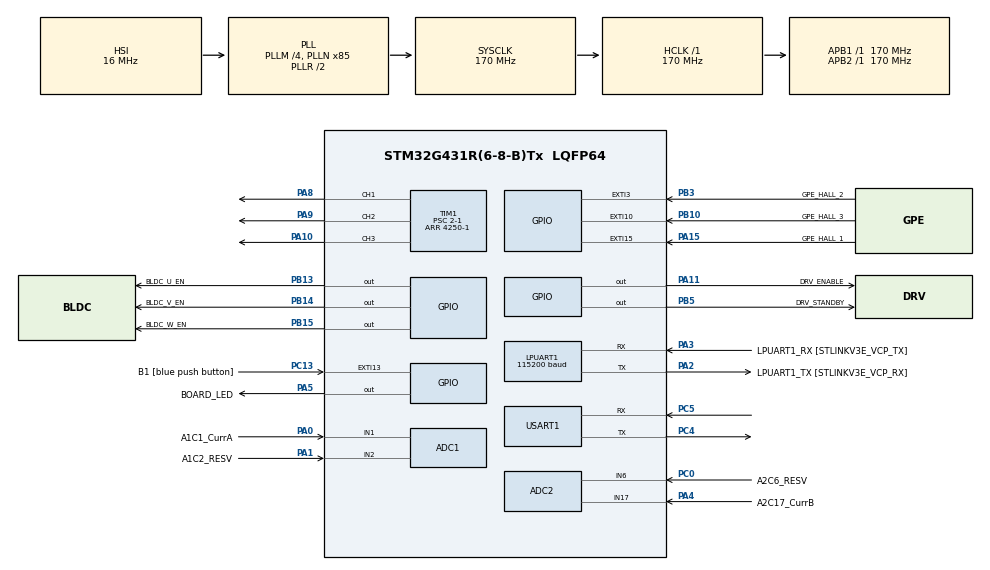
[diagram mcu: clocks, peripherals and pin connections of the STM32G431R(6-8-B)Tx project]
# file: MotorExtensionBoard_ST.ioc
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ADC1.Channel-0\#ChannelRegularConversion=ADC_CHANNEL_1
ADC1.Channel-1\#ChannelRegularConversion=ADC_CHANNEL_2
ADC1.ContinuousConvMode=ENABLE
ADC1.DMAAccessModeView=ENABLE
ADC1.DMAContinuousRequests=ENABLE
ADC1.EOCSelection=ADC_EOC_SINGLE_CONV
ADC1.EnableInjectedConversion=DISABLE
ADC1.ExternalTrigConv=ADC_SOFTWARE_START
ADC1.Mode=ADC_DUALMODE_REGSIMULT
ADC1.NbrOfConversion=2
ADC1.NbrOfConversionFlag=1
ADC1.OffsetNumber-0\#ChannelRegularConversion=ADC_OFFSET_NONE
ADC1.OffsetNumber-1\#ChannelRegularConversion=ADC_OFFSET_NONE
ADC1.Rank-0\#ChannelRegularConversion=1
ADC1.Rank-1\#ChannelRegularConversion=2
ADC1.SamplingTime-0\#ChannelRegularConversion=ADC_SAMPLETIME_92CYCLES_5
ADC1.SamplingTime-1\#ChannelRegularConversion=ADC_SAMPLETIME_92CYCLES_5
ADC1.TwoSamplingDelay=ADC_TWOSAMPLINGDELAY_4CYCLES
ADC1.master=1
ADC2.Channel-0\#ChannelRegularConversion=ADC_CHANNEL_17
ADC2.Channel-1\#ChannelRegularConversion=ADC_CHANNEL_6
ADC2.ContinuousConvMode=ENABLE
ADC2.DMAAccessModeView=ENABLE
ADC2.DMAContinuousRequests=DISABLE
ADC2.EOCSelection=ADC_EOC_SINGLE_CONV
ADC2.Mode=ADC_DUALMODE_REGSIMULT
ADC2.NbrOfConversion=2
ADC2.NbrOfConversionFlag=1
ADC2.OffsetNumber-0\#ChannelRegularConversion=ADC_OFFSET_NONE
ADC2.OffsetNumber-1\#ChannelRegularConversion=ADC_OFFSET_NONE
ADC2.Rank-0\#ChannelRegularConversion=1
ADC2.Rank-1\#ChannelRegularConversion=2
ADC2.SamplingTime-0\#ChannelRegularConversion=ADC_SAMPLETIME_92CYCLES_5
ADC2.SamplingTime-1\#ChannelRegularConversion=ADC_SAMPLETIME_92CYCLES_5
ADC2.TwoSamplingDelay=ADC_TWOSAMPLINGDELAY_4CYCLES
Dma.ADC1.0.Direction=DMA_PERIPH_TO_MEMORY
Dma.ADC1.0.EventEnable=DISABLE
Dma.ADC1.0.Instance=DMA1_Channel1
Dma.ADC1.0.MemDataAlignment=DMA_MDATAALIGN_WORD
Dma.ADC1.0.MemInc=DMA_MINC_ENABLE
Dma.ADC1.0.Mode=DMA_CIRCULAR
Dma.ADC1.0.PeriphDataAlignment=DMA_PDATAALIGN_WORD
Dma.ADC1.0.PeriphInc=DMA_PINC_DISABLE
Dma.ADC1.0.Polarity=HAL_DMAMUX_REQ_GEN_RISING
Dma.ADC1.0.Priority=DMA_PRIORITY_LOW
Dma.ADC1.0.RequestNumber=1
Dma.ADC1.0.SignalID=NONE
Dma.ADC1.0.SyncEnable=DISABLE
Dma.ADC1.0.SyncPolarity=HAL_DMAMUX_SYNC_NO_EVENT
Dma.ADC1.0.SyncRequestNumber=1
Dma.ADC1.0.SyncSignalID=NONE
Dma.Request0=ADC1
LPUART1.BaudRate=115200
LPUART1.WordLength=UART_WORDLENGTH_8B
Mcu.Family=STM32G4
Mcu.Name=STM32G431R(6-8-B)Tx
Mcu.Package=LQFP64
NVIC.ADC1_2_IRQn=true\:0\:0\:false\:false\:true\:true\:true\:true
NVIC.DMA1_Channel1_IRQn=true\:0\:0\:false\:false\:true\:false\:true\:true
NVIC.EXTI15_10_IRQn=true\:0\:0\:false\:false\:true\:true\:true\:true
NVIC.EXTI3_IRQn=true\:0\:0\:false\:false\:true\:true\:true\:true
NVIC.LPUART1_IRQn=true\:0\:0\:false\:false\:true\:true\:true\:true
NVIC.PriorityGroup=NVIC_PRIORITYGROUP_4
PA0.GPIO_Label=A1C1_CurrA
PA0.Mode=IN1-Single-Ended
PA0.Signal=ADC1_IN1
PA1.GPIO_Label=A1C2_RESV
PA1.Mode=IN2-Single-Ended
PA1.Signal=ADC1_IN2
PA10.Signal=S_TIM1_CH3
PA11.GPIO_Label=DRV_ENABLE
PA11.Signal=GPIO_Output
PA13.GPIO_Label=T_SWDIO
PA13.Mode=Serial_Wire
PA13.Signal=SYS_JTMS-SWDIO
PA14.GPIO_Label=T_SWCLK
PA14.Mode=Serial_Wire
PA14.Signal=SYS_JTCK-SWCLK
PA15.GPIO_Label=GPE_HALL_1
PA15.GPIO_ModeDefaultEXTI=GPIO_MODE_IT_RISING_FALLING
PA15.Signal=GPXTI15
PA2.GPIO_Label=LPUART1_TX [STLINKV3E_VCP_RX]
PA2.Mode=Asynchronous
PA2.Signal=LPUART1_TX
PA3.GPIO_Label=LPUART1_RX [STLINKV3E_VCP_TX]
PA3.Mode=Asynchronous
PA3.Signal=LPUART1_RX
PA4.GPIO_Label=A2C17_CurrB
PA4.Mode=IN17-Single-Ended
PA4.Signal=ADC2_IN17
PA5.GPIO_Label=BOARD_LED
PA5.Signal=GPIO_Output
PA8.Signal=S_TIM1_CH1
PA9.Signal=S_TIM1_CH2
PB10.GPIO_Label=GPE_HALL_3
PB10.GPIO_ModeDefaultEXTI=GPIO_MODE_IT_RISING_FALLING
PB10.Signal=GPXTI10
PB13.GPIO_Label=BLDC_U_EN
PB13.Signal=GPIO_Output
PB14.GPIO_Label=BLDC_V_EN
PB14.Signal=GPIO_Output
PB15.GPIO_Label=BLDC_W_EN
PB15.Signal=GPIO_Output
PB3.GPIO_Label=GPE_HALL_2
PB3.GPIO_ModeDefaultEXTI=GPIO_MODE_IT_RISING_FALLING
PB3.Signal=GPXTI3
PB5.GPIO_Label=DRV_STANDBY
PB5.Signal=GPIO_Output
PC0.GPIO_Label=A2C6_RESV
PC0.Mode=IN6-Single-Ended
PC0.Signal=ADC2_IN6
PC13.GPIO_Label=B1 [blue push button]
PC13.Signal=GPXTI13
PC14-OSC32_IN.Mode=LSE-External-Oscillator
PC14-OSC32_IN.Signal=RCC_OSC32_IN
PC15-OSC32_OUT.Mode=LSE-External-Oscillator
PC15-OSC32_OUT.Signal=RCC_OSC32_OUT
PC4.Mode=Asynchronous
PC4.Signal=USART1_TX
PC5.Mode=Asynchronous
PC5.Signal=USART1_RX
PF0-OSC_IN.Mode=HSE-External-Oscillator
PF0-OSC_IN.Signal=RCC_OSC_IN
PF1-OSC_OUT.Mode=HSE-External-Oscillator
PF1-OSC_OUT.Signal=RCC_OSC_OUT
ProjectManager.HeapSize=0x200
ProjectManager.StackSize=0x400
ProjectManager.TargetToolchain=STM32CubeIDE
RCC.ADC12Freq_Value=170000000
RCC.AHBFreq_Value=170000000
RCC.APB1Freq_Value=170000000
RCC.APB1TimFreq_Value=170000000
RCC.APB2Freq_Value=170000000
RCC.APB2TimFreq_Value=170000000
RCC.CortexFreq_Value=170000000
RCC.EXTERNAL_CLOCK_VALUE=12288000
RCC.HCLKFreq_Value=170000000
RCC.HSE_VALUE=24000000
RCC.HSI48_VALUE=48000000
RCC.HSI_VALUE=16000000
RCC.PLLM=RCC_PLLM_DIV4
RCC.PLLN=85
RCC.RTCClockSelection=RCC_RTCCLKSOURCE_LSE
RCC.SYSCLKFreq_VALUE=170000000
RCC.SYSCLKSource=RCC_SYSCLKSOURCE_PLLCLK
RCC.USBFreq_Value=170000000
RCC.VCOOutputFreq_Value=340000000
SH.S_TIM1_CH1.0=TIM1_CH1,Output Compare1 CH1
SH.S_TIM1_CH2.0=TIM1_CH2,Output Compare2 CH2
SH.S_TIM1_CH3.0=TIM1_CH3,Output Compare3 CH3
TIM1.Channel-Output\ Compare1\ CH1=TIM_CHANNEL_1
TIM1.Channel-Output\ Compare2\ CH2=TIM_CHANNEL_2
TIM1.Channel-Output\ Compare3\ CH3=TIM_CHANNEL_3
TIM1.PeriodNoDither=4250-1
TIM1.Prescaler=2-1
TIM6.PeriodNoDither=100-1
TIM6.Prescaler=170-1
TIM6.TIM_MasterOutputTrigger=TIM_TRGO_UPDATE
USART1.VirtualMode-Asynchronous=VM_ASYNC
VP_SYS_VS_DBSignals.Mode=DisableDeadBatterySignals
VP_TIM1_VS_ClockSourceINT.Mode=Internal
VP_TIM6_VS_ClockSourceINT.Mode=Enable_Timer
board=NUCLEO-G431RB

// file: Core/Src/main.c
/* USER CODE BEGIN Header */
/**
  ******************************************************************************
  * @file           : main.c
  * @brief          : Main program body
  ******************************************************************************
  * @attention
  *
  * Copyright (c) 2024 STMicroelectronics.
  * All rights reserved.
  *
  * This software is licensed under terms that can be found in the LICENSE file
  * in the root directory of this software component.
  * If no LICENSE file comes with this software, it is provided AS-IS.
  *
  ******************************************************************************
  */
/* USER CODE END Header */
#include "main.h"

/* USER CODE BEGIN Includes */
#include <stdint.h>
/* USER CODE END Includes */

ADC_HandleTypeDef hadc1;
ADC_HandleTypeDef hadc2;
DMA_HandleTypeDef hdma_adc1;

UART_HandleTypeDef hlpuart1;
UART_HandleTypeDef huart1;

TIM_HandleTypeDef htim1;
TIM_HandleTypeDef htim6;

void SystemClock_Config(void);
static void MX_GPIO_Init(void);
static void MX_DMA_Init(void);
static void MX_ADC1_Init(void);
static void MX_LPUART1_UART_Init(void);
static void MX_TIM6_Init(void);
static void MX_ADC2_Init(void);
static void MX_USART1_UART_Init(void);
static void MX_TIM1_Init(void);

/* USER CODE BEGIN 0 */
uint32_t g_uiT3c1_duty = 0;

uint32_t g_uiT3c2_duty = 0;

uint32_t g_uiT3c4_duty = 0;

uint8_t g_uiUpdated = 0;
uint8_t g_ucEnableCompl = 0;

uint32_t g_usAdcCh1_raw[4] = {0,};
uint16_t g_usAdcCh2_raw[4] = {0,};

uint8_t g_ucL234Enable = 0;

uint32_t g_arriveTm = 0;

uint16_t adc1_data[4];
uint16_t adc2_data[4];
float adc1_volt[4] = { 1.0f,1.0f,1.0f,1.0f};
float adc2_volt[4] = { 1.0f,1.0f,1.0f,1.0f};

uint8_t g_aucHall[3];

uint16_t g_uiBldcDuty = 1000;

// ?��?�� ?��?��
void Update_SixStep_Commutation_GPT(void);
void Update_SixStep_Commutation_Book(void);
void Update_SixStep_Commutation_Mode2(void);
uint8_t Read_Hall_Sensors(void);
static void TIM_ComplementaryChCtl(TIM_TypeDef *TIMx, uint32_t Channel, uint32_t ChannelNState);

TIM_HandleTypeDef htim1;

void HAL_GPIO_EXTI_Callback(uint16_t GPIO_Pin) {
    if (GPIO_Pin == GPE_HALL_3_Pin || GPIO_Pin == GPE_HALL_2_Pin || GPIO_Pin == GPE_HALL_1_Pin) {
    	//Update_SixStep_Commutation_Book();
      Update_SixStep_Commutation_Mode2();
    }
}

void Update_SixStep_Commutation_GPT(void) {
    uint8_t hallState = Read_Hall_Sensors();

    switch (hallState) {

        case 0b101:  // Hall state 5
        	// Phase A : current in
            __HAL_TIM_SET_COMPARE(&htim1, TIM_CHANNEL_1, g_uiBldcDuty);
            TIM_ComplementaryChCtl(htim1.Instance, TIM_CHANNEL_1, TIM_CCxN_DISABLE);

            // Phase B : current out
            __HAL_TIM_SET_COMPARE(&htim1, TIM_CHANNEL_2, 0);
            TIM_ComplementaryChCtl(htim1.Instance, TIM_CHANNEL_2, TIM_CCxN_ENABLE);	// Duty is 0, then Complementary out is always 100% duty

            // Phase C : HiZ
            __HAL_TIM_SET_COMPARE(&htim1, TIM_CHANNEL_3, 0);
            TIM_ComplementaryChCtl(htim1.Instance, TIM_CHANNEL_3, TIM_CCxN_DISABLE);
            break;

        case 0b100:  // Hall state 4
        	// Phase A : HiZ
            __HAL_TIM_SET_COMPARE(&htim1, TIM_CHANNEL_1, 0);
            TIM_ComplementaryChCtl(htim1.Instance, TIM_CHANNEL_1, TIM_CCxN_DISABLE);

            // Phase B : current out
            __HAL_TIM_SET_COMPARE(&htim1, TIM_CHANNEL_2, 0);
            TIM_ComplementaryChCtl(htim1.Instance, TIM_CHANNEL_2, TIM_CCxN_ENABLE);

            // Phase B : current in
            __HAL_TIM_SET_COMPARE(&htim1, TIM_CHANNEL_3, g_uiBldcDuty);
            TIM_ComplementaryChCtl(htim1.Instance, TIM_CHANNEL_3, TIM_CCxN_DISABLE);
            break;

        case 0b110:
        	// Phase A :  current out
        	__HAL_TIM_SET_COMPARE(&htim1, TIM_CHANNEL_1, 0);
        	TIM_ComplementaryChCtl(htim1.Instance, TIM_CHANNEL_1, TIM_CCxN_ENABLE);

        	// Phase B : current in
			__HAL_TIM_SET_COMPARE(&htim1, TIM_CHANNEL_2, g_uiBldcDuty);
			TIM_ComplementaryChCtl(htim1.Instance, TIM_CHANNEL_2, TIM_CCxN_DISABLE);

			// Phase C : HiZ
			__HAL_TIM_SET_COMPARE(&htim1, TIM_CHANNEL_3, 0);
			TIM_ComplementaryChCtl(htim1.Instance, TIM_CHANNEL_3, TIM_CCxN_DISABLE);
        	break;

        case 0b010:
        	// Phase A :  current out
        	__HAL_TIM_SET_COMPARE(&htim1, TIM_CHANNEL_1, 0);
        	TIM_ComplementaryChCtl(htim1.Instance, TIM_CHANNEL_1, TIM_CCxN_ENABLE);

        	// Phase B : HiZ
			__HAL_TIM_SET_COMPARE(&htim1, TIM_CHANNEL_2, 0);
			TIM_ComplementaryChCtl(htim1.Instance, TIM_CHANNEL_2, TIM_CCxN_DISABLE);

			// Phase C : current in
			__HAL_TIM_SET_COMPARE(&htim1, TIM_CHANNEL_3, g_uiBldcDuty);
			TIM_ComplementaryChCtl(htim1.Instance, TIM_CHANNEL_3, TIM_CCxN_DISABLE);
        	break;

        case 0b011:
        	// Phase A :  HiZ
        	__HAL_TIM_SET_COMPARE(&htim1, TIM_CHANNEL_1, 0);
        	TIM_ComplementaryChCtl(htim1.Instance, TIM_CHANNEL_1, TIM_CCxN_DISABLE);

        	// Phase B :  current in
			__HAL_TIM_SET_COMPARE(&htim1, TIM_CHANNEL_2, g_uiBldcDuty);
			TIM_ComplementaryChCtl(htim1.Instance, TIM_CHANNEL_2, TIM_CCxN_DISABLE);

			// Phase C :  current out
			__HAL_TIM_SET_COMPARE(&htim1, TIM_CHANNEL_3, 0);
			TIM_ComplementaryChCtl(htim1.Instance, TIM_CHANNEL_3, TIM_CCxN_ENABLE);
        	break;

        case 0b001:
        	// Phase A :  current in
        	__HAL_TIM_SET_COMPARE(&htim1, TIM_CHANNEL_1, g_uiBldcDuty);
        	TIM_ComplementaryChCtl(htim1.Instance, TIM_CHANNEL_1, TIM_CCxN_DISABLE);

        	// Phase A :  HiZ
			__HAL_TIM_SET_COMPARE(&htim1, TIM_CHANNEL_2, 0);
			TIM_ComplementaryChCtl(htim1.Instance, TIM_CHANNEL_2, TIM_CCxN_DISABLE);

			// Phase A :  current out
			__HAL_TIM_SET_COMPARE(&htim1, TIM_CHANNEL_3, 0);
			TIM_ComplementaryChCtl(htim1.Instance, TIM_CHANNEL_3, TIM_CCxN_ENABLE);
        	break;

        // 추�? ?��?�� ?��?�� (0b110, 0b010, 0b011, 0b001)
        // �?????? ?��?��?��?�� TIM1?�� 출력 ?��?�� ?��?��
    }
}

uint8_t hallState = 0;

uint8_t Read_Hall_Sensors(void) {
    uint8_t h1 = HAL_GPIO_ReadPin(GPE_HALL_1_GPIO_Port, GPE_HALL_1_Pin);
    uint8_t h2 = HAL_GPIO_ReadPin(GPE_HALL_2_GPIO_Port, GPE_HALL_2_Pin);
    uint8_t h3 = HAL_GPIO_ReadPin(GPE_HALL_3_GPIO_Port, GPE_HALL_3_Pin);
    return ((h1 << 2) + (h2 << 1) + h3);
}

static void TIM_ComplementaryChCtl(TIM_TypeDef *TIMx, uint32_t Channel, uint32_t ChannelNState)
{
  uint32_t tmp;

  tmp = TIM_CCER_CC1NE << (Channel & 0xFU); /* 0xFU = 15 bits max shift */

  /* Reset the CCxNE Bit */
  TIMx->CCER &=  ~tmp;

  /* Set or reset the CCxNE Bit */
  TIMx->CCER |= (uint32_t)(ChannelNState << (Channel & 0xFU)); /* 0xFU = 15 bits max shift */
}

uint8_t g_ucDrvEn = 0;
uint8_t g_ucStandy = 0;

/* USER CODE END 0 */

int main(void)
{

  /* MCU Configuration--------------------------------------------------------*/

  /* Reset of all peripherals, Initializes the Flash interface and the Systick. */
  HAL_Init();

  /* Configure the system clock */
  SystemClock_Config();

  /* Initialize all configured peripherals */
  MX_GPIO_Init();
  MX_DMA_Init();
  MX_ADC1_Init();
  MX_LPUART1_UART_Init();
  MX_TIM6_Init();
  MX_ADC2_Init();
  MX_USART1_UART_Init();
  MX_TIM1_Init();
  /* USER CODE BEGIN 2 */
   HAL_TIM_PWM_Start(&htim1, TIM_CHANNEL_1);
   //HAL_TIMEx_PWMN_Start(&htim1, TIM_CHANNEL_1);
   HAL_TIM_PWM_Start(&htim1, TIM_CHANNEL_2);
   //HAL_TIMEx_PWMN_Start(&htim1, TIM_CHANNEL_2);
   HAL_TIM_PWM_Start(&htim1, TIM_CHANNEL_3);
   //HAL_TIMEx_PWMN_Start(&htim1, TIM_CHANNEL_3);

  //TIM_ComplementaryChCtl(htim1.Instance, TIM_CHANNEL_1, TIM_CCxN_DISABLE);
  //TIM_ComplementaryChCtl(htim1.Instance, TIM_CHANNEL_2, TIM_CCxN_DISABLE);
  //TIM_ComplementaryChCtl(htim1.Instance, TIM_CHANNEL_3, TIM_CCxN_DISABLE);

  HAL_TIM_Base_Start(&htim6);

  //HAL_GPIO_WritePin(DRV_STANDBY_GPIO_Port, DRV_STANDBY_Pin, 0);
  //HAL_GPIO_WritePin(DRV_ENABLE_GPIO_Port, DRV_ENABLE_Pin, 1);
  HAL_Delay(100);
  g_ucDrvEn = 1;
  HAL_GPIO_WritePin(DRV_STANDBY_GPIO_Port, DRV_STANDBY_Pin, 1);
  HAL_Delay(100);
  //htim1.Instance->CCER

  //Update_SixStep_Commutation_Mode2();
//  //HAL_ADC_Start(&hadc2);
//  HAL_ADCEx_MultiModeStart_DMA(&hadc1, (uint32_t *)&g_usAdcCh1_raw, 4);

  /* USER CODE END 2 */

  /* Infinite loop */
  /* USER CODE BEGIN WHILE */
  while (1)
  {
	  __HAL_TIM_SET_COMPARE(&htim1,TIM_CHANNEL_1, 4250-1) ;
	  HAL_GPIO_WritePin(BLDC_U_EN_GPIO_Port, BLDC_U_EN_Pin, GPIO_PIN_SET);
	  HAL_GPIO_WritePin(BLDC_V_EN_GPIO_Port, BLDC_V_EN_Pin, GPIO_PIN_SET);
	  HAL_GPIO_WritePin(BLDC_W_EN_GPIO_Port, BLDC_W_EN_Pin, GPIO_PIN_SET);

	  HAL_GPIO_WritePin(DRV_ENABLE_GPIO_Port, DRV_ENABLE_Pin, g_ucDrvEn);
#if 0
	  __HAL_TIM_SET_COMPARE(&htim1,TIM_CHANNEL_1, g_uiT3c1_duty) ;

	  if(g_uiUpdated != 0){
		  g_uiUpdated = 0;

		  if(g_ucEnableCompl == 1){
			  //TIM_CCxN_DISABLE
			  TIM_ComplementaryChCtl(htim1.Instance, TIM_CHANNEL_1, TIM_CCxN_ENABLE);
		  }
		  else {
			  //TIM_CCxN_DISABLE
			  TIM_ComplementaryChCtl(htim1.Instance, TIM_CHANNEL_1, TIM_CCxN_DISABLE);
		  }

	  }
#endif

    uint8_t h1 = HAL_GPIO_ReadPin(GPE_HALL_1_GPIO_Port, GPE_HALL_1_Pin);
    uint8_t h2 = HAL_GPIO_ReadPin(GPE_HALL_2_GPIO_Port, GPE_HALL_2_Pin);
    uint8_t h3 = HAL_GPIO_ReadPin(GPE_HALL_3_GPIO_Port, GPE_HALL_3_Pin);
    g_aucHall[0] = h1;
    g_aucHall[1] = h2;
    g_aucHall[2] = h3;

    /* USER CODE END WHILE */

  }
}

void SystemClock_Config(void)
{
  RCC_OscInitTypeDef RCC_OscInitStruct = {0};
  RCC_ClkInitTypeDef RCC_ClkInitStruct = {0};

  /** Configure the main internal regulator output voltage
  */
  HAL_PWREx_ControlVoltageScaling(PWR_REGULATOR_VOLTAGE_SCALE1_BOOST);

  /** Initializes the RCC Oscillators according to the specified parameters
  * in the RCC_OscInitTypeDef structure.
  */
  RCC_OscInitStruct.OscillatorType = RCC_OSCILLATORTYPE_HSI;
  RCC_OscInitStruct.HSIState = RCC_HSI_ON;
  RCC_OscInitStruct.HSICalibrationValue = RCC_HSICALIBRATION_DEFAULT;
  RCC_OscInitStruct.PLL.PLLState = RCC_PLL_ON;
  RCC_OscInitStruct.PLL.PLLSource = RCC_PLLSOURCE_HSI;
  RCC_OscInitStruct.PLL.PLLM = RCC_PLLM_DIV4;
  RCC_OscInitStruct.PLL.PLLN = 85;
  RCC_OscInitStruct.PLL.PLLP = RCC_PLLP_DIV2;
  RCC_OscInitStruct.PLL.PLLQ = RCC_PLLQ_DIV2;
  RCC_OscInitStruct.PLL.PLLR = RCC_PLLR_DIV2;
  if (HAL_RCC_OscConfig(&RCC_OscInitStruct) != HAL_OK)
  {
    Error_Handler();
  }

  /** Initializes the CPU, AHB and APB buses clocks
  */
  RCC_ClkInitStruct.ClockType = RCC_CLOCKTYPE_HCLK|RCC_CLOCKTYPE_SYSCLK
                              |RCC_CLOCKTYPE_PCLK1|RCC_CLOCKTYPE_PCLK2;
  RCC_ClkInitStruct.SYSCLKSource = RCC_SYSCLKSOURCE_PLLCLK;
  RCC_ClkInitStruct.AHBCLKDivider = RCC_SYSCLK_DIV1;
  RCC_ClkInitStruct.APB1CLKDivider = RCC_HCLK_DIV1;
  RCC_ClkInitStruct.APB2CLKDivider = RCC_HCLK_DIV1;

  if (HAL_RCC_ClockConfig(&RCC_ClkInitStruct, FLASH_LATENCY_4) != HAL_OK)
  {
    Error_Handler();
  }
}

static void MX_ADC1_Init(void)
{

  ADC_MultiModeTypeDef multimode = {0};
  ADC_ChannelConfTypeDef sConfig = {0};

  /** Common config
  */
  hadc1.Instance = ADC1;
  hadc1.Init.ClockPrescaler = ADC_CLOCK_SYNC_PCLK_DIV4;
  hadc1.Init.Resolution = ADC_RESOLUTION_12B;
  hadc1.Init.DataAlign = ADC_DATAALIGN_RIGHT;
  hadc1.Init.GainCompensation = 0;
  hadc1.Init.ScanConvMode = ADC_SCAN_ENABLE;
  hadc1.Init.EOCSelection = ADC_EOC_SINGLE_CONV;
  hadc1.Init.LowPowerAutoWait = DISABLE;
  hadc1.Init.ContinuousConvMode = ENABLE;
  hadc1.Init.NbrOfConversion = 2;
  hadc1.Init.DiscontinuousConvMode = DISABLE;
  hadc1.Init.ExternalTrigConv = ADC_SOFTWARE_START;
  hadc1.Init.ExternalTrigConvEdge = ADC_EXTERNALTRIGCONVEDGE_NONE;
  hadc1.Init.DMAContinuousRequests = ENABLE;
  hadc1.Init.Overrun = ADC_OVR_DATA_PRESERVED;
  hadc1.Init.OversamplingMode = DISABLE;
  if (HAL_ADC_Init(&hadc1) != HAL_OK)
  {
    Error_Handler();
  }

  /** Configure the ADC multi-mode
  */
  multimode.Mode = ADC_DUALMODE_REGSIMULT;
  multimode.DMAAccessMode = ADC_DMAACCESSMODE_12_10_BITS;
  multimode.TwoSamplingDelay = ADC_TWOSAMPLINGDELAY_4CYCLES;
  if (HAL_ADCEx_MultiModeConfigChannel(&hadc1, &multimode) != HAL_OK)
  {
    Error_Handler();
  }

  /** Configure Regular Channel
  */
  sConfig.Channel = ADC_CHANNEL_1;
  sConfig.Rank = ADC_REGULAR_RANK_1;
  sConfig.SamplingTime = ADC_SAMPLETIME_92CYCLES_5;
  sConfig.SingleDiff = ADC_SINGLE_ENDED;
  sConfig.OffsetNumber = ADC_OFFSET_NONE;
  sConfig.Offset = 0;
  if (HAL_ADC_ConfigChannel(&hadc1, &sConfig) != HAL_OK)
  {
    Error_Handler();
  }

  /** Configure Regular Channel
  */
  sConfig.Channel = ADC_CHANNEL_2;
  sConfig.Rank = ADC_REGULAR_RANK_2;
  if (HAL_ADC_ConfigChannel(&hadc1, &sConfig) != HAL_OK)
  {
    Error_Handler();
  }

}

static void MX_ADC2_Init(void)
{

  ADC_ChannelConfTypeDef sConfig = {0};

  /** Common config
  */
  hadc2.Instance = ADC2;
  hadc2.Init.ClockPrescaler = ADC_CLOCK_SYNC_PCLK_DIV4;
  hadc2.Init.Resolution = ADC_RESOLUTION_12B;
  hadc2.Init.DataAlign = ADC_DATAALIGN_RIGHT;
  hadc2.Init.GainCompensation = 0;
  hadc2.Init.ScanConvMode = ADC_SCAN_ENABLE;
  hadc2.Init.EOCSelection = ADC_EOC_SINGLE_CONV;
  hadc2.Init.LowPowerAutoWait = DISABLE;
  hadc2.Init.ContinuousConvMode = ENABLE;
  hadc2.Init.NbrOfConversion = 2;
  hadc2.Init.DiscontinuousConvMode = DISABLE;
  hadc2.Init.DMAContinuousRequests = DISABLE;
  hadc2.Init.Overrun = ADC_OVR_DATA_PRESERVED;
  hadc2.Init.OversamplingMode = DISABLE;
  if (HAL_ADC_Init(&hadc2) != HAL_OK)
  {
    Error_Handler();
  }

  /** Configure Regular Channel
  */
  sConfig.Channel = ADC_CHANNEL_17;
  sConfig.Rank = ADC_REGULAR_RANK_1;
  sConfig.SamplingTime = ADC_SAMPLETIME_92CYCLES_5;
  sConfig.SingleDiff = ADC_SINGLE_ENDED;
  sConfig.OffsetNumber = ADC_OFFSET_NONE;
  sConfig.Offset = 0;
  if (HAL_ADC_ConfigChannel(&hadc2, &sConfig) != HAL_OK)
  {
    Error_Handler();
  }

  /** Configure Regular Channel
  */
  sConfig.Channel = ADC_CHANNEL_6;
  sConfig.Rank = ADC_REGULAR_RANK_2;
  if (HAL_ADC_ConfigChannel(&hadc2, &sConfig) != HAL_OK)
  {
    Error_Handler();
  }

}

static void MX_LPUART1_UART_Init(void)
{

  hlpuart1.Instance = LPUART1;
  hlpuart1.Init.BaudRate = 115200;
  hlpuart1.Init.WordLength = UART_WORDLENGTH_8B;
  hlpuart1.Init.StopBits = UART_STOPBITS_1;
  hlpuart1.Init.Parity = UART_PARITY_NONE;
  hlpuart1.Init.Mode = UART_MODE_TX_RX;
  hlpuart1.Init.HwFlowCtl = UART_HWCONTROL_NONE;
  hlpuart1.Init.OneBitSampling = UART_ONE_BIT_SAMPLE_DISABLE;
  hlpuart1.Init.ClockPrescaler = UART_PRESCALER_DIV1;
  hlpuart1.AdvancedInit.AdvFeatureInit = UART_ADVFEATURE_NO_INIT;
  if (HAL_UART_Init(&hlpuart1) != HAL_OK)
  {
    Error_Handler();
  }
  if (HAL_UARTEx_SetTxFifoThreshold(&hlpuart1, UART_TXFIFO_THRESHOLD_1_8) != HAL_OK)
  {
    Error_Handler();
  }
  if (HAL_UARTEx_SetRxFifoThreshold(&hlpuart1, UART_RXFIFO_THRESHOLD_1_8) != HAL_OK)
  {
    Error_Handler();
  }
  if (HAL_UARTEx_DisableFifoMode(&hlpuart1) != HAL_OK)
  {
    Error_Handler();
  }

}

static void MX_USART1_UART_Init(void)
{

  huart1.Instance = USART1;
  huart1.Init.BaudRate = 115200;
  huart1.Init.WordLength = UART_WORDLENGTH_8B;
  huart1.Init.StopBits = UART_STOPBITS_1;
  huart1.Init.Parity = UART_PARITY_NONE;
  huart1.Init.Mode = UART_MODE_TX_RX;
  huart1.Init.HwFlowCtl = UART_HWCONTROL_NONE;
  huart1.Init.OverSampling = UART_OVERSAMPLING_16;
  huart1.Init.OneBitSampling = UART_ONE_BIT_SAMPLE_DISABLE;
  huart1.Init.ClockPrescaler = UART_PRESCALER_DIV1;
  huart1.AdvancedInit.AdvFeatureInit = UART_ADVFEATURE_NO_INIT;
  if (HAL_UART_Init(&huart1) != HAL_OK)
  {
    Error_Handler();
  }
  if (HAL_UARTEx_SetTxFifoThreshold(&huart1, UART_TXFIFO_THRESHOLD_1_8) != HAL_OK)
  {
    Error_Handler();
  }
  if (HAL_UARTEx_SetRxFifoThreshold(&huart1, UART_RXFIFO_THRESHOLD_1_8) != HAL_OK)
  {
    Error_Handler();
  }
  if (HAL_UARTEx_DisableFifoMode(&huart1) != HAL_OK)
  {
    Error_Handler();
  }

}

static void MX_TIM1_Init(void)
{

  TIM_ClockConfigTypeDef sClockSourceConfig = {0};
  TIM_MasterConfigTypeDef sMasterConfig = {0};
  TIM_OC_InitTypeDef sConfigOC = {0};
  TIM_BreakDeadTimeConfigTypeDef sBreakDeadTimeConfig = {0};

  htim1.Instance = TIM1;
  htim1.Init.Prescaler = 2-1;
  htim1.Init.CounterMode = TIM_COUNTERMODE_UP;
  htim1.Init.Period = 4249;
  htim1.Init.ClockDivision = TIM_CLOCKDIVISION_DIV1;
  htim1.Init.RepetitionCounter = 0;
  htim1.Init.AutoReloadPreload = TIM_AUTORELOAD_PRELOAD_DISABLE;
  if (HAL_TIM_Base_Init(&htim1) != HAL_OK)
  {
    Error_Handler();
  }
  sClockSourceConfig.ClockSource = TIM_CLOCKSOURCE_INTERNAL;
  if (HAL_TIM_ConfigClockSource(&htim1, &sClockSourceConfig) != HAL_OK)
  {
    Error_Handler();
  }
  if (HAL_TIM_OC_Init(&htim1) != HAL_OK)
  {
    Error_Handler();
  }
  sMasterConfig.MasterOutputTrigger = TIM_TRGO_RESET;
  sMasterConfig.MasterOutputTrigger2 = TIM_TRGO2_RESET;
  sMasterConfig.MasterSlaveMode = TIM_MASTERSLAVEMODE_DISABLE;
  if (HAL_TIMEx_MasterConfigSynchronization(&htim1, &sMasterConfig) != HAL_OK)
  {
    Error_Handler();
  }
  sConfigOC.OCMode = TIM_OCMODE_TIMING;
  sConfigOC.Pulse = 0;
  sConfigOC.OCPolarity = TIM_OCPOLARITY_HIGH;
  sConfigOC.OCNPolarity = TIM_OCNPOLARITY_HIGH;
  sConfigOC.OCFastMode = TIM_OCFAST_DISABLE;
  sConfigOC.OCIdleState = TIM_OCIDLESTATE_RESET;
  sConfigOC.OCNIdleState = TIM_OCNIDLESTATE_RESET;
  if (HAL_TIM_OC_ConfigChannel(&htim1, &sConfigOC, TIM_CHANNEL_1) != HAL_OK)
  {
    Error_Handler();
  }
  if (HAL_TIM_OC_ConfigChannel(&htim1, &sConfigOC, TIM_CHANNEL_2) != HAL_OK)
  {
    Error_Handler();
  }
  if (HAL_TIM_OC_ConfigChannel(&htim1, &sConfigOC, TIM_CHANNEL_3) != HAL_OK)
  {
    Error_Handler();
  }
  sBreakDeadTimeConfig.OffStateRunMode = TIM_OSSR_DISABLE;
  sBreakDeadTimeConfig.OffStateIDLEMode = TIM_OSSI_DISABLE;
  sBreakDeadTimeConfig.LockLevel = TIM_LOCKLEVEL_OFF;
  sBreakDeadTimeConfig.DeadTime = 0;
  sBreakDeadTimeConfig.BreakState = TIM_BREAK_DISABLE;
  sBreakDeadTimeConfig.BreakPolarity = TIM_BREAKPOLARITY_HIGH;
  sBreakDeadTimeConfig.BreakFilter = 0;
  sBreakDeadTimeConfig.BreakAFMode = TIM_BREAK_AFMODE_INPUT;
  sBreakDeadTimeConfig.Break2State = TIM_BREAK2_DISABLE;
  sBreakDeadTimeConfig.Break2Polarity = TIM_BREAK2POLARITY_HIGH;
  sBreakDeadTimeConfig.Break2Filter = 0;
  sBreakDeadTimeConfig.Break2AFMode = TIM_BREAK_AFMODE_INPUT;
  sBreakDeadTimeConfig.AutomaticOutput = TIM_AUTOMATICOUTPUT_DISABLE;
  if (HAL_TIMEx_ConfigBreakDeadTime(&htim1, &sBreakDeadTimeConfig) != HAL_OK)
  {
    Error_Handler();
  }
  HAL_TIM_MspPostInit(&htim1);

}

static void MX_TIM6_Init(void)
{

  TIM_MasterConfigTypeDef sMasterConfig = {0};

  htim6.Instance = TIM6;
  htim6.Init.Prescaler = 170-1;
  htim6.Init.CounterMode = TIM_COUNTERMODE_UP;
  htim6.Init.Period = 99;
  htim6.Init.AutoReloadPreload = TIM_AUTORELOAD_PRELOAD_DISABLE;
  if (HAL_TIM_Base_Init(&htim6) != HAL_OK)
  {
    Error_Handler();
  }
  sMasterConfig.MasterOutputTrigger = TIM_TRGO_UPDATE;
  sMasterConfig.MasterSlaveMode = TIM_MASTERSLAVEMODE_DISABLE;
  if (HAL_TIMEx_MasterConfigSynchronization(&htim6, &sMasterConfig) != HAL_OK)
  {
    Error_Handler();
  }

}

static void MX_DMA_Init(void)
{

  /* DMA controller clock enable */
  __HAL_RCC_DMAMUX1_CLK_ENABLE();
  __HAL_RCC_DMA1_CLK_ENABLE();

  /* DMA interrupt init */
  /* DMA1_Channel1_IRQn interrupt configuration */
  HAL_NVIC_SetPriority(DMA1_Channel1_IRQn, 0, 0);
  HAL_NVIC_EnableIRQ(DMA1_Channel1_IRQn);

}

static void MX_GPIO_Init(void)
{
  GPIO_InitTypeDef GPIO_InitStruct = {0};

  /* GPIO Ports Clock Enable */
  __HAL_RCC_GPIOC_CLK_ENABLE();
  __HAL_RCC_GPIOF_CLK_ENABLE();
  __HAL_RCC_GPIOA_CLK_ENABLE();
  __HAL_RCC_GPIOB_CLK_ENABLE();

  /*Configure GPIO pin Output Level */
  HAL_GPIO_WritePin(GPIOA, BOARD_LED_Pin|DRV_ENABLE_Pin, GPIO_PIN_RESET);

  /*Configure GPIO pin Output Level */
  HAL_GPIO_WritePin(GPIOB, BLDC_U_EN_Pin|BLDC_V_EN_Pin|BLDC_W_EN_Pin|DRV_STANDBY_Pin, GPIO_PIN_RESET);

  /*Configure GPIO pin : B1_Pin */
  GPIO_InitStruct.Pin = B1_Pin;
  GPIO_InitStruct.Mode = GPIO_MODE_IT_RISING;
  GPIO_InitStruct.Pull = GPIO_NOPULL;
  HAL_GPIO_Init(B1_GPIO_Port, &GPIO_InitStruct);

  /*Configure GPIO pins : BOARD_LED_Pin DRV_ENABLE_Pin */
  GPIO_InitStruct.Pin = BOARD_LED_Pin|DRV_ENABLE_Pin;
  GPIO_InitStruct.Mode = GPIO_MODE_OUTPUT_PP;
  GPIO_InitStruct.Pull = GPIO_NOPULL;
  GPIO_InitStruct.Speed = GPIO_SPEED_FREQ_LOW;
  HAL_GPIO_Init(GPIOA, &GPIO_InitStruct);

  /*Configure GPIO pins : GPE_HALL_3_Pin GPE_HALL_2_Pin */
  GPIO_InitStruct.Pin = GPE_HALL_3_Pin|GPE_HALL_2_Pin;
  GPIO_InitStruct.Mode = GPIO_MODE_IT_RISING_FALLING;
  GPIO_InitStruct.Pull = GPIO_NOPULL;
  HAL_GPIO_Init(GPIOB, &GPIO_InitStruct);

  /*Configure GPIO pins : BLDC_U_EN_Pin BLDC_V_EN_Pin BLDC_W_EN_Pin DRV_STANDBY_Pin */
  GPIO_InitStruct.Pin = BLDC_U_EN_Pin|BLDC_V_EN_Pin|BLDC_W_EN_Pin|DRV_STANDBY_Pin;
  GPIO_InitStruct.Mode = GPIO_MODE_OUTPUT_PP;
  GPIO_InitStruct.Pull = GPIO_NOPULL;
  GPIO_InitStruct.Speed = GPIO_SPEED_FREQ_LOW;
  HAL_GPIO_Init(GPIOB, &GPIO_InitStruct);

  /*Configure GPIO pin : GPE_HALL_1_Pin */
  GPIO_InitStruct.Pin = GPE_HALL_1_Pin;
  GPIO_InitStruct.Mode = GPIO_MODE_IT_RISING_FALLING;
  GPIO_InitStruct.Pull = GPIO_NOPULL;
  HAL_GPIO_Init(GPE_HALL_1_GPIO_Port, &GPIO_InitStruct);

  /* EXTI interrupt init*/
  HAL_NVIC_SetPriority(EXTI3_IRQn, 0, 0);
  HAL_NVIC_EnableIRQ(EXTI3_IRQn);

  HAL_NVIC_SetPriority(EXTI15_10_IRQn, 0, 0);
  HAL_NVIC_EnableIRQ(EXTI15_10_IRQn);

}

/* USER CODE BEGIN 4 */

void Update_SixStep_Commutation_Mode2(void) {
    hallState = Read_Hall_Sensors();

    switch (hallState) {

        case 0b101:
        	// Phase A : current in
            __HAL_TIM_SET_COMPARE(&htim1, TIM_CHANNEL_1, g_uiBldcDuty);
            HAL_GPIO_WritePin(BLDC_U_EN_GPIO_Port, BLDC_U_EN_Pin, GPIO_PIN_SET);

            // Phase B : current out
            __HAL_TIM_SET_COMPARE(&htim1, TIM_CHANNEL_2, 0);
            HAL_GPIO_WritePin(BLDC_V_EN_GPIO_Port, BLDC_V_EN_Pin, GPIO_PIN_SET);	// Duty is 0, then Complementary out is always 100% duty

            // Phase C : HiZ
            __HAL_TIM_SET_COMPARE(&htim1, TIM_CHANNEL_3, 0);
            HAL_GPIO_WritePin(BLDC_W_EN_GPIO_Port, BLDC_W_EN_Pin, GPIO_PIN_RESET);
            break;

        case 0b100:
        	// Phase A :  current in
			__HAL_TIM_SET_COMPARE(&htim1, TIM_CHANNEL_1, g_uiBldcDuty);
			HAL_GPIO_WritePin(BLDC_U_EN_GPIO_Port, BLDC_U_EN_Pin, GPIO_PIN_SET);

			// Phase B :  HiZ
			__HAL_TIM_SET_COMPARE(&htim1, TIM_CHANNEL_2, 0);
			HAL_GPIO_WritePin(BLDC_V_EN_GPIO_Port, BLDC_V_EN_Pin, GPIO_PIN_RESET);

			// Phase C :  current out
			__HAL_TIM_SET_COMPARE(&htim1, TIM_CHANNEL_3, 0);
			HAL_GPIO_WritePin(BLDC_W_EN_GPIO_Port, BLDC_W_EN_Pin, GPIO_PIN_SET);
            break;

        case 0b110:
        	// Phase A :  HiZ
			__HAL_TIM_SET_COMPARE(&htim1, TIM_CHANNEL_1, 0);
			HAL_GPIO_WritePin(BLDC_U_EN_GPIO_Port, BLDC_U_EN_Pin, GPIO_PIN_RESET);

			// Phase B :  current in
			__HAL_TIM_SET_COMPARE(&htim1, TIM_CHANNEL_2, g_uiBldcDuty);
			HAL_GPIO_WritePin(BLDC_V_EN_GPIO_Port, BLDC_V_EN_Pin, GPIO_PIN_SET);

			// Phase C :  current out
			__HAL_TIM_SET_COMPARE(&htim1, TIM_CHANNEL_3, 0);
			HAL_GPIO_WritePin(BLDC_W_EN_GPIO_Port, BLDC_W_EN_Pin, GPIO_PIN_SET);
        	break;

        case 0b010:
        	// Phase A :  current out
			__HAL_TIM_SET_COMPARE(&htim1, TIM_CHANNEL_1, 0);
			HAL_GPIO_WritePin(BLDC_U_EN_GPIO_Port, BLDC_U_EN_Pin, GPIO_PIN_SET);

			// Phase B : current in
			__HAL_TIM_SET_COMPARE(&htim1, TIM_CHANNEL_2, g_uiBldcDuty);
			HAL_GPIO_WritePin(BLDC_V_EN_GPIO_Port, BLDC_V_EN_Pin, GPIO_PIN_SET);

			// Phase C : HiZ
			__HAL_TIM_SET_COMPARE(&htim1, TIM_CHANNEL_3, 0);
			HAL_GPIO_WritePin(BLDC_W_EN_GPIO_Port, BLDC_W_EN_Pin, GPIO_PIN_RESET);
        	break;

        case 0b011:
        	// Phase A :  current out
			__HAL_TIM_SET_COMPARE(&htim1, TIM_CHANNEL_1, 0);
			HAL_GPIO_WritePin(BLDC_U_EN_GPIO_Port, BLDC_U_EN_Pin, GPIO_PIN_SET);

			// Phase B : HiZ
			__HAL_TIM_SET_COMPARE(&htim1, TIM_CHANNEL_2, 0);
			HAL_GPIO_WritePin(BLDC_V_EN_GPIO_Port, BLDC_V_EN_Pin, GPIO_PIN_RESET);

			// Phase C : current in
			__HAL_TIM_SET_COMPARE(&htim1, TIM_CHANNEL_3, g_uiBldcDuty);
			HAL_GPIO_WritePin(BLDC_W_EN_GPIO_Port, BLDC_W_EN_Pin, GPIO_PIN_SET);
        	break;

        case 0b001:
        	// Phase A : HiZ
				__HAL_TIM_SET_COMPARE(&htim1, TIM_CHANNEL_1, 0);
				HAL_GPIO_WritePin(BLDC_U_EN_GPIO_Port, BLDC_U_EN_Pin, GPIO_PIN_RESET);

				// Phase B : current out
				__HAL_TIM_SET_COMPARE(&htim1, TIM_CHANNEL_2, 0);
				HAL_GPIO_WritePin(BLDC_V_EN_GPIO_Port, BLDC_V_EN_Pin, GPIO_PIN_SET);

				// Phase B : current in
				__HAL_TIM_SET_COMPARE(&htim1, TIM_CHANNEL_3, g_uiBldcDuty);
				HAL_GPIO_WritePin(BLDC_W_EN_GPIO_Port, BLDC_W_EN_Pin, GPIO_PIN_SET);
        	break;

        // 추�? ?��?�� ?��?�� (0b110, 0b010, 0b011, 0b001)
        // �?????? ?��?��?��?�� TIM1?�� 출력 ?��?�� ?��?��
    }
}

void Update_SixStep_Commutation_Book(void) {
    hallState = Read_Hall_Sensors();

    switch (hallState) {

        case 0b101:
        	// Phase A : current in
            __HAL_TIM_SET_COMPARE(&htim1, TIM_CHANNEL_1, g_uiBldcDuty);
            TIM_ComplementaryChCtl(htim1.Instance, TIM_CHANNEL_1, TIM_CCxN_DISABLE);

            // Phase B : current out
            __HAL_TIM_SET_COMPARE(&htim1, TIM_CHANNEL_2, 0);
            TIM_ComplementaryChCtl(htim1.Instance, TIM_CHANNEL_2, TIM_CCxN_ENABLE);	// Duty is 0, then Complementary out is always 100% duty

            // Phase C : HiZ
            __HAL_TIM_SET_COMPARE(&htim1, TIM_CHANNEL_3, 0);
            TIM_ComplementaryChCtl(htim1.Instance, TIM_CHANNEL_3, TIM_CCxN_DISABLE);
            break;

        case 0b100:
        	// Phase A :  current in
			__HAL_TIM_SET_COMPARE(&htim1, TIM_CHANNEL_1, g_uiBldcDuty);
			TIM_ComplementaryChCtl(htim1.Instance, TIM_CHANNEL_1, TIM_CCxN_DISABLE);

			// Phase A :  HiZ
			__HAL_TIM_SET_COMPARE(&htim1, TIM_CHANNEL_2, 0);
			TIM_ComplementaryChCtl(htim1.Instance, TIM_CHANNEL_2, TIM_CCxN_DISABLE);

			// Phase A :  current out
			__HAL_TIM_SET_COMPARE(&htim1, TIM_CHANNEL_3, 0);
			TIM_ComplementaryChCtl(htim1.Instance, TIM_CHANNEL_3, TIM_CCxN_ENABLE);
            break;

        case 0b110:
        	// Phase A :  HiZ
			__HAL_TIM_SET_COMPARE(&htim1, TIM_CHANNEL_1, 0);
			TIM_ComplementaryChCtl(htim1.Instance, TIM_CHANNEL_1, TIM_CCxN_DISABLE);

			// Phase B :  current in
			__HAL_TIM_SET_COMPARE(&htim1, TIM_CHANNEL_2, g_uiBldcDuty);
			TIM_ComplementaryChCtl(htim1.Instance, TIM_CHANNEL_2, TIM_CCxN_DISABLE);

			// Phase C :  current out
			__HAL_TIM_SET_COMPARE(&htim1, TIM_CHANNEL_3, 0);
			TIM_ComplementaryChCtl(htim1.Instance, TIM_CHANNEL_3, TIM_CCxN_ENABLE);
        	break;

        case 0b010:
        	// Phase A :  current out
			__HAL_TIM_SET_COMPARE(&htim1, TIM_CHANNEL_1, 0);
			TIM_ComplementaryChCtl(htim1.Instance, TIM_CHANNEL_1, TIM_CCxN_ENABLE);

			// Phase B : current in
			__HAL_TIM_SET_COMPARE(&htim1, TIM_CHANNEL_2, g_uiBldcDuty);
			TIM_ComplementaryChCtl(htim1.Instance, TIM_CHANNEL_2, TIM_CCxN_DISABLE);

			// Phase C : HiZ
			__HAL_TIM_SET_COMPARE(&htim1, TIM_CHANNEL_3, 0);
			TIM_ComplementaryChCtl(htim1.Instance, TIM_CHANNEL_3, TIM_CCxN_DISABLE);
        	break;

        case 0b011:
        	// Phase A :  current out
			__HAL_TIM_SET_COMPARE(&htim1, TIM_CHANNEL_1, 0);
			TIM_ComplementaryChCtl(htim1.Instance, TIM_CHANNEL_1, TIM_CCxN_ENABLE);

			// Phase B : HiZ
			__HAL_TIM_SET_COMPARE(&htim1, TIM_CHANNEL_2, 0);
			TIM_ComplementaryChCtl(htim1.Instance, TIM_CHANNEL_2, TIM_CCxN_DISABLE);

			// Phase C : current in
			__HAL_TIM_SET_COMPARE(&htim1, TIM_CHANNEL_3, g_uiBldcDuty);
			TIM_ComplementaryChCtl(htim1.Instance, TIM_CHANNEL_3, TIM_CCxN_DISABLE);
        	break;

        case 0b001:
        	// Phase A : HiZ
				__HAL_TIM_SET_COMPARE(&htim1, TIM_CHANNEL_1, 0);
				TIM_ComplementaryChCtl(htim1.Instance, TIM_CHANNEL_1, TIM_CCxN_DISABLE);

				// Phase B : current out
				__HAL_TIM_SET_COMPARE(&htim1, TIM_CHANNEL_2, 0);
				TIM_ComplementaryChCtl(htim1.Instance, TIM_CHANNEL_2, TIM_CCxN_ENABLE);

				// Phase B : current in
				__HAL_TIM_SET_COMPARE(&htim1, TIM_CHANNEL_3, g_uiBldcDuty);
				TIM_ComplementaryChCtl(htim1.Instance, TIM_CHANNEL_3, TIM_CCxN_DISABLE);
        	break;

        // 추�? ?��?�� ?��?�� (0b110, 0b010, 0b011, 0b001)
        // �?????? ?��?��?��?�� TIM1?�� 출력 ?��?�� ?��?��
    }
}
/* USER CODE END 4 */

void Error_Handler(void)
{
  __disable_irq();
  while (1)
  {
  }
}
